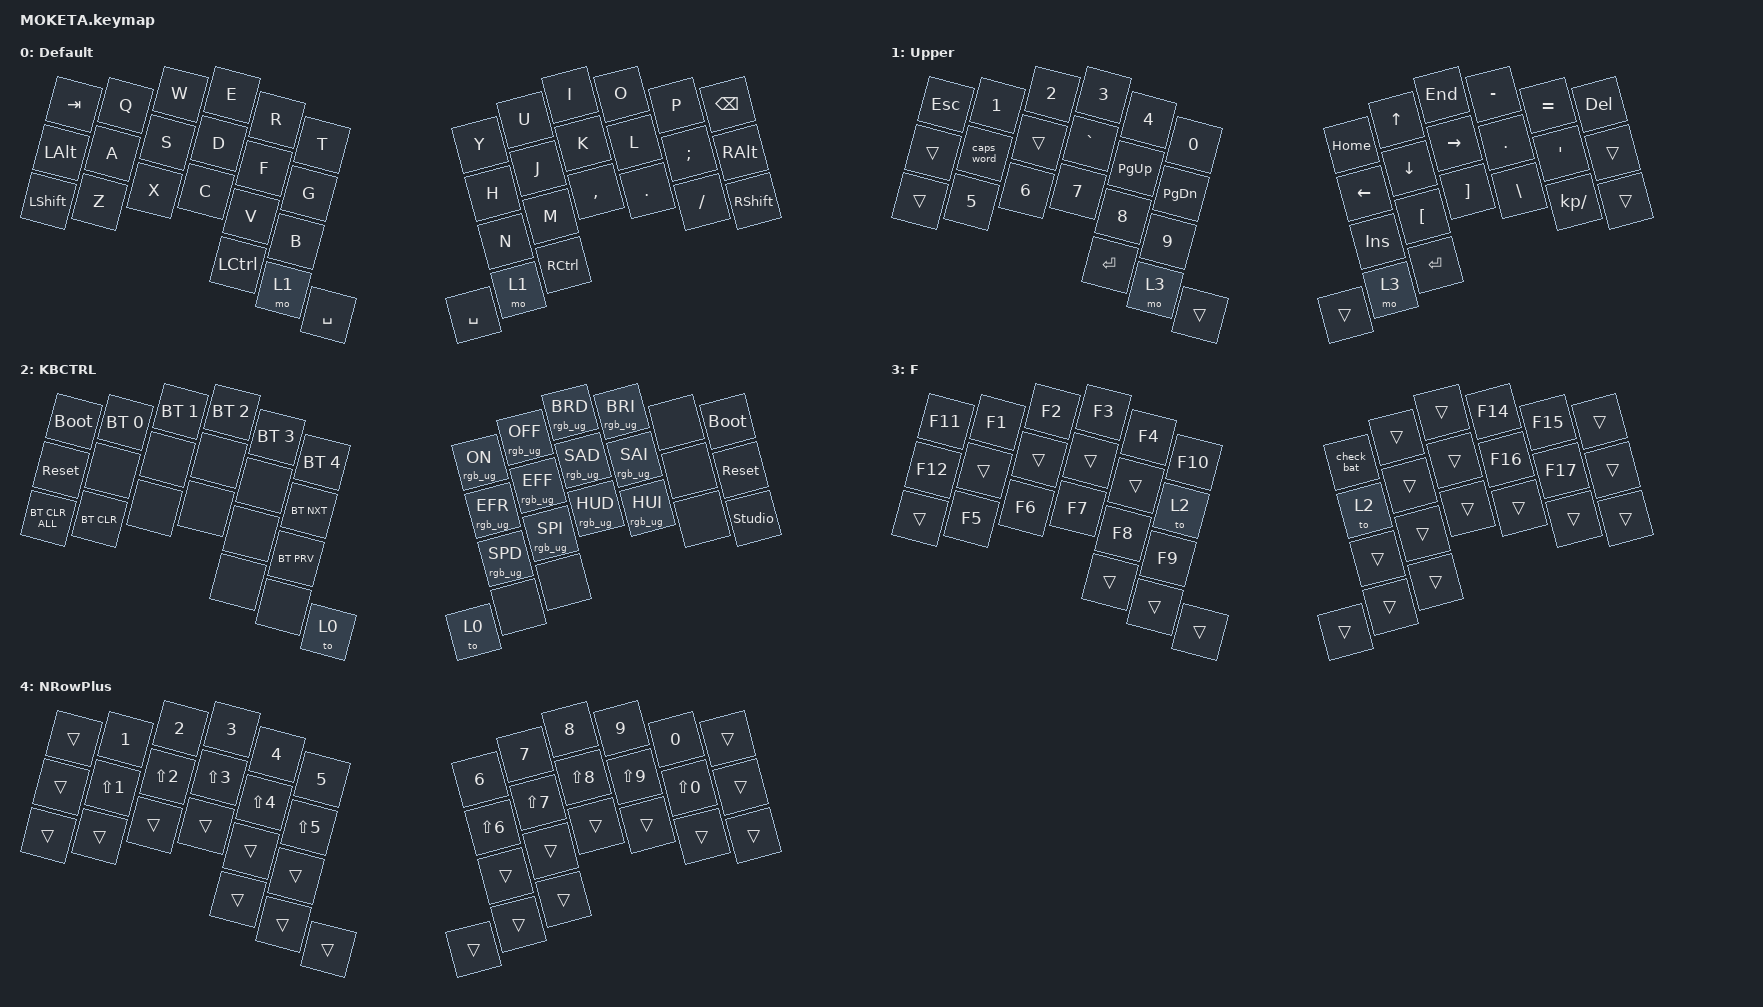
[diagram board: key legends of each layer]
/*
 * Copyright (c) 2020 The ZMK Contributors
 *
 * SPDX-License-Identifier: MIT
 */

#include <behaviors.dtsi>
#include <dt-bindings/zmk/bt.h>
#include <dt-bindings/zmk/keys.h>
#include <dt-bindings/zmk/rgb.h>

#define DEF 0
#define LWR 1
#define RSE 2
#define ADJ 3
#define GME 4

&lt {
    flavor = "balanced";
    tapping-term-ms = <220>;
    quick-tap-ms = <175>;
};

&mt {
    flavor = "balanced";
    tapping-term-ms = <280>;
    quick-tap-ms = <175>;
};

/ {
    combos {
        compatible = "zmk,combos";

        ju-enter {
            bindings = <&kp ENTER>;
            key-positions = <19 7>;
        };

        fr-enter {
            bindings = <&kp ENTER>;
            key-positions = <16 4>;
        };
    };
};

/ {
    keymap {
        compatible = "zmk,keymap";

        default_layer {
            label = "Default";
            bindings = <
&kp TAB         &kp Q  &kp W  &kp E  &kp R             &kp T                        &kp Y  &kp U              &kp I      &kp O    &kp P     &kp BACKSPACE
&kp LEFT_ALT    &kp A  &kp S  &kp D  &kp F             &kp G                        &kp H  &kp J              &kp K      &kp L    &kp SEMI  &kp RIGHT_ALT
&kp LEFT_SHIFT  &kp Z  &kp X  &kp C  &kp V             &kp B                        &kp N  &kp M              &kp COMMA  &kp DOT  &kp FSLH  &kp RIGHT_SHIFT
                                     &kp LEFT_CONTROL  &mo 1  &kp SPACE  &kp SPACE  &mo 1  &kp RIGHT_CONTROL
            >;
        };

        upper {
            label = "Upper";
            bindings = <
&kp ESC  &kp NUMBER_1  &kp NUMBER_2  &kp NUMBER_3  &kp NUMBER_4  &kp NUMBER_0                   &kp HOME        &kp UP_ARROW      &kp END            &kp MINUS      &kp EQUAL         &kp DELETE
&trans   &caps_word    &trans        &kp GRAVE     &kp PAGE_UP   &kp PAGE_DOWN                  &kp LEFT_ARROW  &kp DOWN_ARROW    &kp RIGHT_ARROW    &kp PERIOD     &kp SINGLE_QUOTE  &trans
&trans   &kp NUMBER_5  &kp NUMBER_6  &kp NUMBER_7  &kp NUMBER_8  &kp NUMBER_9                   &kp INSERT      &kp LEFT_BRACKET  &kp RIGHT_BRACKET  &kp BACKSLASH  &kp KP_SLASH      &trans
                                                   &kp ENTER     &mo 3          &trans  &trans  &mo 3           &kp ENTER
            >;
        };

        kb_control_layer {
            label = "KBCTRL";
            bindings = <
&bootloader     &bt BT_SEL 0  &bt BT_SEL 1  &bt BT_SEL 2  &bt BT_SEL 3  &bt BT_SEL 4                &rgb_ug RGB_ON   &rgb_ug RGB_OFF  &rgb_ug RGB_BRD  &rgb_ug RGB_BRI  &none  &bootloader
&sys_reset      &none         &none         &none         &none         &bt BT_NXT                  &rgb_ug RGB_EFR  &rgb_ug RGB_EFF  &rgb_ug RGB_SAD  &rgb_ug RGB_SAI  &none  &sys_reset
&bt BT_CLR_ALL  &bt BT_CLR    &none         &none         &none         &bt BT_PRV                  &rgb_ug RGB_SPD  &rgb_ug RGB_SPI  &rgb_ug RGB_HUD  &rgb_ug RGB_HUI  &none  &studio_unlock
                                                          &none         &none         &to 0  &to 0  &none            &none
            >;
        };

        flayer {
            label = "F";
            bindings = <
&kp F11  &kp F1  &kp F2  &kp F3  &kp F4  &kp F10                  &check_bat  &trans  &trans  &kp F14  &kp F15  &trans
&kp F12  &trans  &trans  &trans  &trans  &to 2                    &to 2       &trans  &trans  &kp F16  &kp F17  &trans
&trans   &kp F5  &kp F6  &kp F7  &kp F8  &kp F9                   &trans      &trans  &trans  &trans   &trans   &trans
                                 &trans  &trans   &trans  &trans  &trans      &trans
            >;
        };

        nrow_plus_layer {
            label = "NRowPlus";
            bindings = <
&trans  &kp NUMBER_1      &kp NUMBER_2      &kp NUMBER_3      &kp NUMBER_4      &kp NUMBER_5                      &kp NUMBER_6      &kp NUMBER_7      &kp NUMBER_8      &kp NUMBER_9      &kp NUMBER_0      &trans
&trans  &kp LS(NUMBER_1)  &kp LS(NUMBER_2)  &kp LS(NUMBER_3)  &kp LS(NUMBER_4)  &kp LS(NUMBER_5)                  &kp LS(NUMBER_6)  &kp LS(NUMBER_7)  &kp LS(NUMBER_8)  &kp LS(NUMBER_9)  &kp LS(NUMBER_0)  &trans
&trans  &trans            &trans            &trans            &trans            &trans                            &trans            &trans            &trans            &trans            &trans            &trans
                                                              &trans            &trans            &trans  &trans  &trans            &trans
            >;
        };
    };
};
